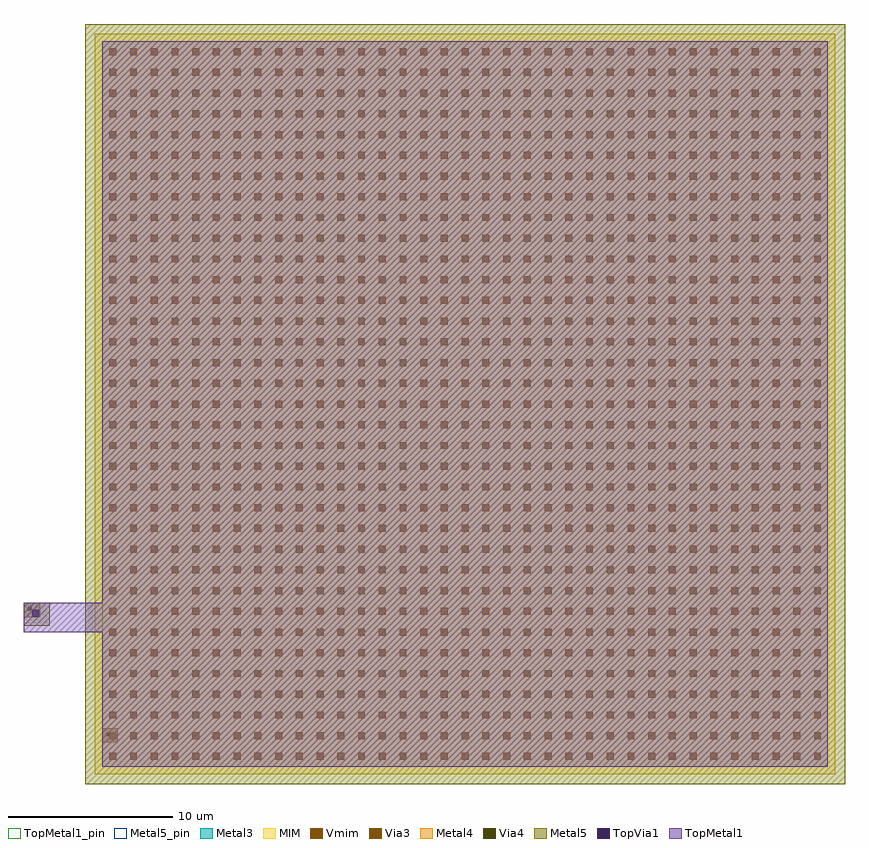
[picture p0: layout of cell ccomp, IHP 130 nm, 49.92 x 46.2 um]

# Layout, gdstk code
from math import pi, radians
import gdstk
lib = gdstk.Library(unit=1e-6, precision=1e-09)
def R(c, l, rs):  # rectangles x0, y0, x1, y1
    for r in rs: c.add(gdstk.rectangle(r[:2], r[2:], *l))
def A(c, l, x, y, w, h, nx, ny, dx, dy):  # array of equal rectangles
    R(c, l, [(x+i*dx, y+j*dy, x+i*dx+w, y+j*dy+h) for i in range(nx) for j in range(ny)])
Metal3 = (30, 0)
MIM = (36, 0)
Via3 = (49, 0)
Metal4 = (50, 0)
Via4 = (66, 0)
Metal5 = (67, 0)
Metal5_pin = (67, 2)
TopVia1 = (125, 0)
TopMetal1 = (126, 0)
TopMetal1_pin = (126, 2)
Vmim = (129, 0)

cmim_1 = lib.new_cell('cmim$1')
R(cmim_1, MIM, [(0,0,45,45)])
R(cmim_1, Metal5, [(-0.6,-0.6,45.6,45.6)])
R(cmim_1, Metal5_pin, [(-0.6,-0.6,45.6,45.6)])
R(cmim_1, TopMetal1, [(0.445,0.445,44.545,44.545)])
R(cmim_1, TopMetal1_pin, [(0.445,0.445,44.545,44.545)])
A(cmim_1, Vmim, 0.865, 0.865, 0.42, 0.42, 35, 35, 1.26, 1.26)

ccomp = lib.new_cell('ccomp')
R(ccomp, Metal3, [(-43.785,0.485,-42.84,1.345), (-48.545,8.09,-47.565,8.985)])
R(ccomp, Via3, [(-43.54,0.9,-43.35,1.09), (-48.29,8.53,-48.1,8.72)])
R(ccomp, Metal4, [(-43.785,0.485,-42.84,1.345), (-48.545,8.09,-47.565,8.985)])
R(ccomp, Via4, [(-43.54,0.9,-43.35,1.09), (-48.29,8.53,-48.1,8.72)])
R(ccomp, Metal5, [(-48.545,7.595,-46.985,8.985)])
R(ccomp, Metal5_pin, [(-48.289,8.529,-48.099,8.719)])
R(ccomp, TopVia1, [(-48.04,8.125,-47.62,8.545)])
R(ccomp, TopMetal1, [(-48.545,7.175,-43.77,8.985)])
ccomp.add(gdstk.Reference(cmim_1, (0.775,-1.44), rotation=pi/2))

lib.write_gds('ccomp.gds')
